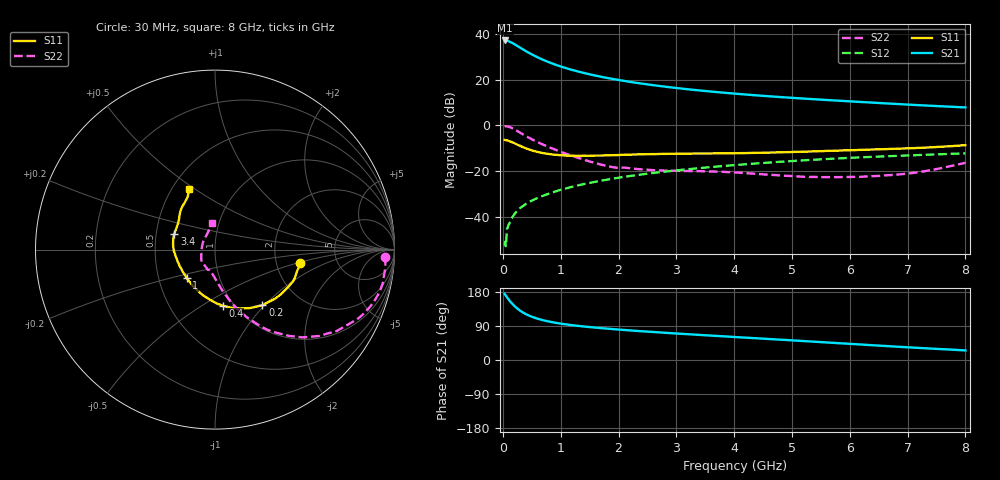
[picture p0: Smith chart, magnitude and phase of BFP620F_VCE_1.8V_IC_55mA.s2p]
! Infineon Technologies  Discrete & RF Semiconductors
! BFP620F
! VCE =  1.8 V,  IC =  55 mA
! Common Emitter S-Parameters:  Dec 2014
# GHz  S  MA  R  50
!  f  S11  S21  S12  S22
! GHz  MAG  ANG  MAG  ANG  MAG  ANG  MAG  ANG
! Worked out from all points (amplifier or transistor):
!   95 points, 30 MHz to 8 GHz, reference 50 ohm
!   highest |S21| = 37.1 dB at 40 MHz (marker M1)
!   |S21| within 3 dB of that: start of sweep to 289.8 MHz
!   unconditionally stable (mu >= 1): 1.841 GHz to end of sweep
!   at 300 MHz: K = 0.51, MSG = 35.0 dB, |S12| = -36.1 dB
!   at 3.3 GHz: K = 1.03, MAG = 16.1 dB, |S12| = -18.9 dB
!   at 8 GHz: K = 1.05, MAG = 8.6 dB, |S12| = -12.2 dB
!   S11 on the Smith chart (normalised r, x): 30 MHz: 2.74, -0.54; 200 MHz: 1.31, -0.97; 400 MHz: 0.89, -0.62; 1 GHz: 0.69, -0.23; 3.4 GHz: 0.62, +0.12; 8 GHz: 0.60, +0.48
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0.03  0.482 -9.1  71.53 174.6  0.0024 94.4  0.9461 -2.5
0.04  0.4783 -11.6  71.55 172.3  0.0029 97.1  0.9527 -4.7
0.08  0.4693 -22.2  70.22 163.7  0.0057 89.3  0.9496 -13.2
0.12  0.4469 -32.2  66.93 155.7  0.0076 79.9  0.9166 -20.9
0.15  0.4328 -39.0  64.34 150.5  0.0093 77.1  0.882 -26.1
0.2  0.4068 -49.6  59.27 142.5  0.0116 75.7  0.8172 -33.6
0.25  0.3798 -59.0  54.38 135.7  0.0137 72.9  0.7523 -39.8
0.3  0.3554 -67.4  49.74 129.9  0.0157 71.8  0.6904 -45.1
0.35  0.3339 -75.2  45.45 125.1  0.0174 71.3  0.6331 -49.4
0.4  0.315 -82.2  41.74 120.9  0.0194 70.7  0.5817 -53.1
0.5  0.2843 -94.1  35.48 114.2  0.0227 69.9  0.4981 -59.2
0.6  0.2631 -104.9  30.64 108.9  0.026 69.6  0.4301 -63.9
0.8  0.2366 -121.7  23.81 101.4  0.0324 69.8  0.3331 -70.9
1  0.2235 -135.2  19.35 96.0  0.0392 69.9  0.2657 -76.3
1.4  0.2173 -155.1  13.97 88.4  0.0523 69.0  0.1786 -86.5
1.9  0.2231 -172.0  10.32 81.6  0.0686 66.9  0.1222 -102.1
2.7  0.2371 170.3  7.277 72.9  0.0944 62.7  0.1039 -125.4
3.4  0.2424 158.9  5.796 66.2  0.1165 58.5  0.1 -137.1
4.1  0.2474 149.2  4.828 59.8  0.1384 54.2  0.0923 -146.1
5.4  0.2711 137.0  3.711 48.1  0.1782 45.2  0.0748 -177.9
6.7  0.3055 125.3  2.986 36.2  0.213 35.5  0.0821 138.9
8  0.37 113.2  2.467 25.2  0.2447 26.3  0.1521 97.0
